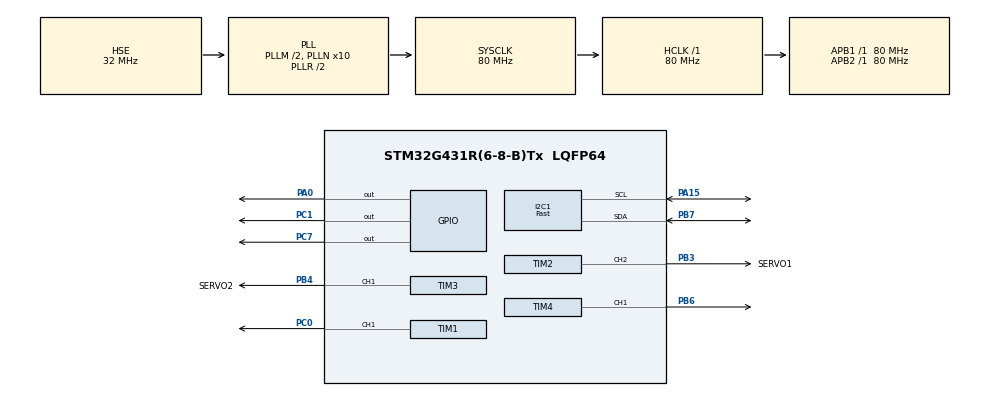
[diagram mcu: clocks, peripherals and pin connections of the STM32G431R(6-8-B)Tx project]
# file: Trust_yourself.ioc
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Dma.Request0=TIM3_CH1
Dma.TIM3_CH1.0.Direction=DMA_MEMORY_TO_PERIPH
Dma.TIM3_CH1.0.EventEnable=DISABLE
Dma.TIM3_CH1.0.Instance=DMA1_Channel1
Dma.TIM3_CH1.0.MemDataAlignment=DMA_MDATAALIGN_WORD
Dma.TIM3_CH1.0.MemInc=DMA_MINC_ENABLE
Dma.TIM3_CH1.0.Mode=DMA_NORMAL
Dma.TIM3_CH1.0.PeriphDataAlignment=DMA_PDATAALIGN_WORD
Dma.TIM3_CH1.0.PeriphInc=DMA_PINC_DISABLE
Dma.TIM3_CH1.0.Polarity=HAL_DMAMUX_REQ_GEN_RISING
Dma.TIM3_CH1.0.Priority=DMA_PRIORITY_LOW
Dma.TIM3_CH1.0.RequestNumber=1
Dma.TIM3_CH1.0.SignalID=NONE
Dma.TIM3_CH1.0.SyncEnable=DISABLE
Dma.TIM3_CH1.0.SyncPolarity=HAL_DMAMUX_SYNC_NO_EVENT
Dma.TIM3_CH1.0.SyncRequestNumber=1
Dma.TIM3_CH1.0.SyncSignalID=NONE
I2C1.I2C_Speed_Mode=I2C_Fast
I2C1.Timing=0x00F12981
Mcu.Family=STM32G4
Mcu.Name=STM32G431R(6-8-B)Tx
Mcu.Package=LQFP64
Mcu.UserConstants=SERVO1,$$_TIM2_IP_HANDLE_$$;SERVO2,$$_TIM3_IP_HANDLE_$$
NVIC.DMA1_Channel1_IRQn=true\:0\:0\:false\:false\:true\:false\:true\:true
NVIC.PriorityGroup=NVIC_PRIORITYGROUP_4
NVIC.TIM1_TRG_COM_TIM17_IRQn=true\:0\:0\:false\:false\:true\:true\:true\:true
NVIC.TIM1_UP_TIM16_IRQn=true\:0\:0\:false\:false\:true\:true\:true\:true
PA0.Signal=GPIO_Output
PA13.Mode=Serial_Wire
PA13.Signal=SYS_JTMS-SWDIO
PA14.Mode=Serial_Wire
PA14.Signal=SYS_JTCK-SWCLK
PA15.Mode=I2C
PA15.Signal=I2C1_SCL
PB3.GPIO_Label=SERVO1
PB3.Signal=S_TIM2_CH2
PB4.GPIO_Label=SERVO2
PB4.Signal=S_TIM3_CH1
PB6.Signal=S_TIM4_CH1
PB7.Mode=I2C
PB7.Signal=I2C1_SDA
PC0.Signal=S_TIM1_CH1
PC1.Signal=GPIO_Output
PC7.GPIO_PuPd=GPIO_NOPULL
PC7.Signal=GPIO_Output
PF0-OSC_IN.Mode=HSE-External-Oscillator
PF0-OSC_IN.Signal=RCC_OSC_IN
PF1-OSC_OUT.Mode=HSE-External-Oscillator
PF1-OSC_OUT.Signal=RCC_OSC_OUT
ProjectManager.HeapSize=0x200
ProjectManager.StackSize=0x400
ProjectManager.TargetToolchain=CMake
RCC.ADC12Freq_Value=80000000
RCC.AHBFreq_Value=80000000
RCC.APB1Freq_Value=80000000
RCC.APB1TimFreq_Value=80000000
RCC.APB2Freq_Value=80000000
RCC.APB2TimFreq_Value=80000000
RCC.CortexFreq_Value=80000000
RCC.EXTERNAL_CLOCK_VALUE=12288000
RCC.HCLKFreq_Value=80000000
RCC.HSE_VALUE=32000000
RCC.HSI48_VALUE=48000000
RCC.HSI_VALUE=16000000
RCC.LSE_VALUE=32768
RCC.PLLM=RCC_PLLM_DIV2
RCC.PLLN=10
RCC.PLLSourceVirtual=RCC_PLLSOURCE_HSE
RCC.SYSCLKFreq_VALUE=80000000
RCC.SYSCLKSource=RCC_SYSCLKSOURCE_PLLCLK
RCC.USBFreq_Value=80000000
RCC.VCOOutputFreq_Value=160000000
SH.S_TIM1_CH1.0=TIM1_CH1,PWM Generation1 CH1
SH.S_TIM2_CH2.0=TIM2_CH2,PWM Generation2 CH2
SH.S_TIM3_CH1.0=TIM3_CH1,PWM Generation1 CH1
SH.S_TIM4_CH1.0=TIM4_CH1,PWM Generation1 CH1
TIM1.Channel-PWM\ Generation1\ CH1=TIM_CHANNEL_1
TIM1.Prescaler=800-1
TIM17.PeriodNoDither=100-1
TIM17.Prescaler=800-1
TIM2.Channel-PWM\ Generation2\ CH2=TIM_CHANNEL_2
TIM2.PeriodNoDither=1000-1
TIM2.Prescaler=800-1
TIM3.Channel-PWM\ Generation1\ CH1=TIM_CHANNEL_1
TIM3.PeriodNoDither=1000-1
TIM3.Prescaler=800-1
TIM4.Channel-PWM\ Generation1\ CH1=TIM_CHANNEL_1
VP_SYS_VS_DBSignals.Mode=DisableDeadBatterySignals
VP_TIM17_VS_ClockSourceINT.Mode=Enable_Timer
VP_TIM3_VS_ClockSourceINT.Mode=Internal
board=custom

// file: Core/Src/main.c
/* USER CODE BEGIN Header */
/**
  ******************************************************************************
  * @file           : main.c
  * @brief          : Main program body
  ******************************************************************************
  * @attention
  *
  * Copyright (c) 2025 STMicroelectronics.
  * All rights reserved.
  *
  * This software is licensed under terms that can be found in the LICENSE file
  * in the root directory of this software component.
  * If no LICENSE file comes with this software, it is provided AS-IS.
  *
  ******************************************************************************
  */
/* USER CODE END Header */
#include "main.h"
#include "dma.h"
#include "i2c.h"
#include "tim.h"
#include "gpio.h"

/* USER CODE BEGIN Includes */
#include "string.h"
#include "oled.h"
#include "math.h"
#include "stdio.h"
/* USER CODE END Includes */

/* USER CODE BEGIN PV */
typedef struct{
	double angel;
	int count;
}SERVO;
SERVO servo1,servo2;
/* USER CODE END PV */

void SystemClock_Config(void);

/* USER CODE BEGIN 0 */
void FF_Motor_Init(void){
	HAL_TIM_PWM_Start(&htim1,TIM_CHANNEL_1);
	TIM1->ARR=1000-1;
	TIM1->PSC=800-1;
	HAL_TIM_PWM_Start(&htim2,TIM_CHANNEL_2);
	TIM2->ARR=1000-1;
	TIM2->PSC=800-1;
}
//motor is motor's selsetion 0 or 1
//direction is motor's direction 0-3 ,0 is stop
//speed is motor's speed 0-100
void FF_Motor_Control(uint8_t motor,uint8_t direction,uint8_t speed){
	if(motor==0)
	{
		if(direction==0)
		{
		  HAL_GPIO_WritePin(GPIOA,GPIO_PIN_0,0);
		  __HAL_TIM_SetCompare(&htim1,TIM_CHANNEL_1,0);
		  HAL_GPIO_WritePin(GPIOC,GPIO_PIN_1,0);
		  __HAL_TIM_SetCompare(&htim2,TIM_CHANNEL_2,0);
		}
		if(direction==1)
		{
		  HAL_GPIO_WritePin(GPIOA,GPIO_PIN_0,0);
		  __HAL_TIM_SetCompare(&htim1,TIM_CHANNEL_1,0);
		  HAL_GPIO_WritePin(GPIOC,GPIO_PIN_1,1);
		  __HAL_TIM_SetCompare(&htim2,TIM_CHANNEL_2,speed*10);
		}
		if(direction==2)
		{
		  HAL_GPIO_WritePin(GPIOC,GPIO_PIN_1,0);
		  __HAL_TIM_SetCompare(&htim2,TIM_CHANNEL_2,0);
		  HAL_GPIO_WritePin(GPIOA,GPIO_PIN_0,1);
		  __HAL_TIM_SetCompare(&htim1,TIM_CHANNEL_1,speed*10);
		}
	}
}
void FF_Servo_Init(SERVO *servo, const int count) {
	HAL_TIM_PWM_Start(&SERVO1,TIM_CHANNEL_2);
	HAL_TIM_PWM_Start(&SERVO2,TIM_CHANNEL_1);
	servo->count = count;

	if (servo == &servo1) {
		TIM2->PSC = 800 - 1;      // SERVO1 80 000 000
		TIM2->ARR = servo1.count - 1;
	}
	else if (servo == &servo2) {
		TIM3->PSC = 800 - 1;      // SERVO2
		TIM3->ARR = servo2.count - 1;
	}
}
void FF_Servo_move_angle(const SERVO *servo, double angle) {
	if (angle < 0) angle = 0;
	if (angle > 180) angle = 180;
	const float num = servo->count;
	const float pwm_min = num * 0.05;
	const float pwm_max = num * 0.25;
	const int pwm_num = (int)(pwm_min + (pwm_max - pwm_min) * (angle / 180.0));
	if (servo == &servo1) {
		__HAL_TIM_SET_COMPARE(&SERVO1, TIM_CHANNEL_2, pwm_num);  // SERVO1
	}
	else if (servo == &servo2) {
		__HAL_TIM_SET_COMPARE(&SERVO2, TIM_CHANNEL_1, pwm_num);  // SERVO2
	}
}
void FF_Servo_move_cord(const SERVO *Ser1,const SERVO *Ser2, double x,double y ){
	const double arm_length1 = 87.3, arm_length2 = 87.3;
	const double distance_sq = x * x + y * y;
	const double distance = sqrt(distance_sq);
	double angle_arm1_rad=0;
	double angle_arm2_rad=0;
	char max = 0;
	// 检查是否在可达范围内
	if (distance > arm_length1 + arm_length2 || distance < fabs(arm_length1 - arm_length2)) {
		double angle_arm1_deg=0;
		max=1;
		angle_arm2_rad=0;
		angle_arm1_rad=atan2(y, x);
		// 最终角度（转换为度数）
		if (x<0)	angle_arm1_deg = (angle_arm1_rad) * 180.0 / M_PI;
		double angle_arm2_deg = angle_arm2_rad;
		// 控制舵机
		FF_Servo_move_angle(Ser1, angle_arm1_deg-30);
		FF_Servo_move_angle(Ser2, angle_arm2_deg+45);
	}
	if (max == 0) {
		// 计算第一个舵机角度（相对于X轴）
		double angle_origin_to_x = atan2(y, x);  // 使用 atan2 自动处理 y < 0 的情况
		// 使用余弦定理计算第二个舵机角度
		double cos_angle_arm2 = (distance_sq - arm_length1 * arm_length1 - arm_length2 * arm_length2) / (2 * arm_length1 * arm_length2);
		angle_arm2_rad = acos(cos_angle_arm2);
		// 计算第一个舵机角度（相对于基座）
		double cos_angle_arm1 = (arm_length1 * arm_length1 + distance_sq - arm_length2 * arm_length2) / (2 * arm_length1 * distance);
		angle_arm1_rad = acos(cos_angle_arm1);
		// 最终角度（转换为度数）
		double angle_arm1_deg = (angle_origin_to_x + angle_arm1_rad) * 180.0 / M_PI;
		double angle_arm2_deg = angle_arm2_rad * 180.0 / M_PI;
		// 控制舵机
		FF_Servo_move_angle(Ser1, angle_arm1_deg-30);
		FF_Servo_move_angle(Ser2, angle_arm2_deg+45);
	}
}
void FF_OLED_Init(void) {
	HAL_Delay(20);
	OLED_Init();
	OLED_NewFrame();
	OLED_PrintASCIIString(0,0,"Huang Fan",&afont8x6,OLED_COLOR_NORMAL);
	OLED_DrawCircle(100,45,18,OLED_COLOR_NORMAL);
	OLED_DrawFilledCircle(93,43,3,OLED_COLOR_NORMAL);
	OLED_DrawFilledCircle(107,43,3,OLED_COLOR_NORMAL);
	OLED_DrawLine(95,55,105,52,OLED_COLOR_NORMAL);
	OLED_DrawLine(95,52,105,55,OLED_COLOR_NORMAL);
	OLED_DrawLine(96,55,106,52,OLED_COLOR_NORMAL);
	OLED_DrawLine(96,52,106,55,OLED_COLOR_NORMAL);
	OLED_ShowFrame();
}
//This is competition of 2024
int l_test = 9;
void FF_Servo_move_to_lattice(int lattice) {	//移动到格子
	const int lattice_x[9] = {-38, -10, 27, -38, -5, 27, -38, -10, 27};
	const int lattice_y[9] = {120, 120, 120, 95, 95, 95, 65, 70, 70};
  	FF_Servo_move_cord(&servo1,&servo2,lattice_x[lattice-1],lattice_y[lattice-1]) ;
}
void FF_Servo_move_to_chess(char color, int chess) {	//移动到棋子 color=0-black 1-white
	const int black_chess_x[5] = {-85, -80, -80, -80, -80};
	const int black_chess_y[5] = {45, 70, 91, 115, 140};
	if (color==0) FF_Servo_move_cord(&servo1,&servo2,black_chess_x[chess],black_chess_y[chess]) ;
}
void FF_Servo_move_to_init(void) {
	FF_Servo_move_angle(&servo1,180);
	FF_Servo_move_angle(&servo2,130);
	HAL_Delay(500);
}
/* USER CODE END 0 */

int main(void)
{

  /* MCU Configuration--------------------------------------------------------*/

  /* Reset of all peripherals, Initializes the Flash interface and the Systick. */
  HAL_Init();

  /* Configure the system clock */
  SystemClock_Config();

  /* Initialize all configured peripherals */
  MX_GPIO_Init();
  MX_DMA_Init();
  MX_I2C1_Init();
  MX_TIM4_Init();
  MX_TIM17_Init();
  MX_TIM2_Init();
  MX_TIM1_Init();
  MX_TIM3_Init();
  /* USER CODE BEGIN 2 */
	FF_Servo_Init(&servo1,1000);
	FF_Servo_Init(&servo2,1000);
	FF_OLED_Init();
  /* USER CODE END 2 */

  /* Infinite loop */
  /* USER CODE BEGIN WHILE */
	int test_num=0;
  	FF_Servo_move_to_init();
  while (1){
  	//FF_Servo_move_to_lattice(5);
  	//FF_Servo_move_to_lattice(l_test);
  	//if (test_num>=10) test_num=1;
  	//FF_Servo_move_cord(&servo1, &servo2, -85, 45);
  	//FF_Servo_move_to_chess(0,test_num++);
  	//if (test_num>=5) test_num=0;
  	//FF_Servo_move_angle(&servo1, 180-30);
  	HAL_Delay(1000);
    /* USER CODE END WHILE */

  }
}

void SystemClock_Config(void)
{
  RCC_OscInitTypeDef RCC_OscInitStruct = {0};
  RCC_ClkInitTypeDef RCC_ClkInitStruct = {0};

  /** Configure the main internal regulator output voltage
  */
  HAL_PWREx_ControlVoltageScaling(PWR_REGULATOR_VOLTAGE_SCALE1);

  /** Initializes the RCC Oscillators according to the specified parameters
  * in the RCC_OscInitTypeDef structure.
  */
  RCC_OscInitStruct.OscillatorType = RCC_OSCILLATORTYPE_HSE;
  RCC_OscInitStruct.HSEState = RCC_HSE_ON;
  RCC_OscInitStruct.PLL.PLLState = RCC_PLL_ON;
  RCC_OscInitStruct.PLL.PLLSource = RCC_PLLSOURCE_HSE;
  RCC_OscInitStruct.PLL.PLLM = RCC_PLLM_DIV2;
  RCC_OscInitStruct.PLL.PLLN = 10;
  RCC_OscInitStruct.PLL.PLLP = RCC_PLLP_DIV2;
  RCC_OscInitStruct.PLL.PLLQ = RCC_PLLQ_DIV2;
  RCC_OscInitStruct.PLL.PLLR = RCC_PLLR_DIV2;
  if (HAL_RCC_OscConfig(&RCC_OscInitStruct) != HAL_OK)
  {
    Error_Handler();
  }

  /** Initializes the CPU, AHB and APB buses clocks
  */
  RCC_ClkInitStruct.ClockType = RCC_CLOCKTYPE_HCLK|RCC_CLOCKTYPE_SYSCLK
                              |RCC_CLOCKTYPE_PCLK1|RCC_CLOCKTYPE_PCLK2;
  RCC_ClkInitStruct.SYSCLKSource = RCC_SYSCLKSOURCE_PLLCLK;
  RCC_ClkInitStruct.AHBCLKDivider = RCC_SYSCLK_DIV1;
  RCC_ClkInitStruct.APB1CLKDivider = RCC_HCLK_DIV1;
  RCC_ClkInitStruct.APB2CLKDivider = RCC_HCLK_DIV1;

  if (HAL_RCC_ClockConfig(&RCC_ClkInitStruct, FLASH_LATENCY_2) != HAL_OK)
  {
    Error_Handler();
  }
}

void Error_Handler(void)
{
  __disable_irq();
  while (1)
  {
  }
}
